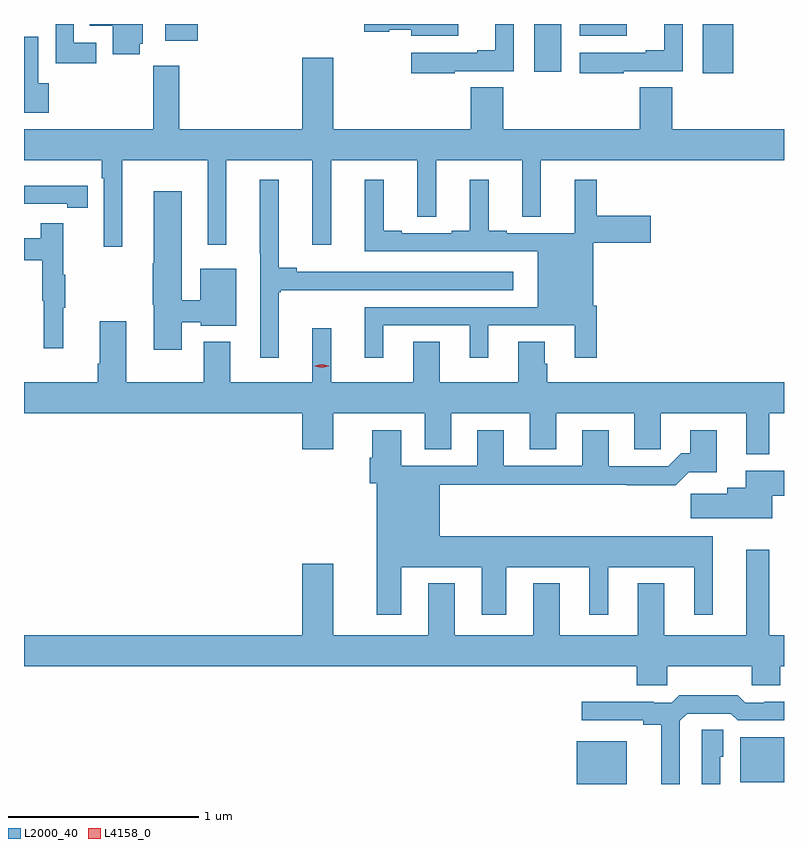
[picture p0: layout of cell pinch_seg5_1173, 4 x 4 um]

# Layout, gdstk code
import gdstk
lib = gdstk.Library(unit=1e-6, precision=1e-09)
def R(c, l, rs):  # rectangles x0, y0, x1, y1
    for r in rs: c.add(gdstk.rectangle(r[:2], r[2:], *l))
def P(c, l, *ps):  # polygons
    for p in ps: c.add(gdstk.Polygon(p, *l))
L2000_40 = (2000, 40)
L4158_0 = (4158, 0)

pinch_seg5_1173 = lib.new_cell('pinch_seg5_1173')
R(pinch_seg5_1173, L2000_40, [(550.07,892.105,550.333,892.33), (550.931,892.115,551.16,892.351), (550.733,895.845,550.894,896.105), (549.845,895.854,549.988,896.105), (547.904,896.016,548.075,896.105), (550.085,896.042,550.333,896.105)])
P(pinch_seg5_1173, L2000_40, [(550.316,895.857),(550.626,895.857),(550.626,896.105),(550.529,896.105),(550.529,895.966),(550.433,895.966),(550.433,895.953),(550.086,895.953),(550.086,895.845),(550.316,895.845)],
  [(547.54,896.007),(547.422,896.007),(547.422,896.105),(547.326,896.105),(547.326,895.899),(547.54,895.899)],
  [(547.768,896.001),(547.786,896.001),(547.786,896.105),(547.507,896.105),(547.507,896.096),(547.628,896.096),(547.628,895.946),(547.768,895.946)],
  [(549.428,895.857),(549.738,895.857),(549.738,896.105),(549.641,896.105),(549.641,895.966),(549.545,895.966),(549.545,895.953),(549.198,895.953),(549.198,895.845),(549.428,895.845)],
  [(549.445,896.105),(548.952,896.105),(548.952,896.063),(549.083,896.063),(549.083,896.075),(549.197,896.075),(549.197,896.042),(549.445,896.042)],
  [(547.289,895.794),(547.236,895.794),(547.236,896.038),(547.16,896.038),(547.16,895.638),(547.289,895.638)],
  [(548.126,894.942),(548.225,894.942),(548.225,895.388),(548.678,895.388),(548.678,894.942),(548.777,894.942),(548.777,895.388),(549.23,895.388),(549.23,895.09),(549.329,895.09),(549.329,895.388),(549.782,895.388),(549.782,895.09),(549.881,895.09),(549.881,895.388),(551.16,895.388),(551.16,895.552),(550.571,895.552),(550.571,895.772),(550.4,895.772),(550.4,895.552),(549.683,895.552),(549.683,895.772),(549.512,895.772),(549.512,895.552),(548.788,895.552),(548.788,895.927),(548.624,895.927),(548.624,895.552),(547.976,895.552),(547.976,895.885),(547.84,895.885),(547.84,895.552),(547.16,895.552),(547.16,895.388),(547.568,895.388),(547.568,895.292),(547.581,895.292),(547.581,894.933),(547.678,894.933),(547.678,895.388),(548.126,895.388)],
  [(549.052,894.519),(549.506,894.519),(549.506,894.348),(549.604,894.348),(549.604,894.519),(550.058,894.519),(550.058,894.348),(550.175,894.348),(550.175,894.622),(550.156,894.622),(550.156,894.953),(550.459,894.953),(550.459,895.095),(550.175,895.095),(550.175,895.285),(550.058,895.285),(550.058,895.005),(549.7,895.005),(549.7,895.018),(549.605,895.018),(549.605,895.285),(549.506,895.285),(549.506,895.018),(549.41,895.018),(549.41,895.005),(549.148,895.005),(549.148,895.018),(549.053,895.018),(549.053,895.285),(548.954,895.285),(548.954,894.909),(549.863,894.909),(549.863,894.615),(548.954,894.615),(548.954,894.348),(549.052,894.348)],
  [(548.501,894.693),(548.512,894.693),(548.512,894.704),(548.858,894.704),(548.858,894.705),(549.736,894.705),(549.736,894.801),(548.596,894.801),(548.596,894.821),(548.501,894.821),(548.501,895.285),(548.402,895.285),(548.402,894.898),(548.403,894.898),(548.403,894.348),(548.501,894.348)],
  [(547.496,895.254),(547.388,895.254),(547.388,895.255),(547.16,895.255),(547.16,895.158),(547.388,895.158),(547.388,895.138),(547.496,895.138)],
  [(547.99,894.534),(548.091,894.534),(548.091,894.518),(548.278,894.518),(548.278,894.817),(548.087,894.817),(548.087,894.65),(547.99,894.65),(547.99,895.225),(547.844,895.225),(547.844,894.845),(547.837,894.845),(547.837,894.627),(547.844,894.627),(547.844,894.39),(547.99,894.39)],
  [(547.367,894.611),(547.378,894.611),(547.378,894.785),(547.367,894.785),(547.367,895.057),(547.249,895.057),(547.249,894.978),(547.16,894.978),(547.16,894.862),(547.257,894.862),(547.257,894.648),(547.264,894.648),(547.264,894.399),(547.367,894.399)],
  [(551.083,894.056),(551.16,894.056),(551.16,894.22),(549.914,894.22),(549.914,894.318),(549.901,894.318),(549.901,894.433),(549.761,894.433),(549.761,894.22),(549.349,894.22),(549.349,894.433),(549.209,894.433),(549.209,894.22),(548.777,894.22),(548.777,894.505),(548.678,894.505),(548.678,894.22),(548.245,894.22),(548.245,894.433),(548.105,894.433),(548.105,894.22),(547.699,894.22),(547.699,894.541),(547.559,894.541),(547.559,894.316),(547.547,894.316),(547.547,894.22),(547.16,894.22),(547.16,894.056),(548.624,894.056),(548.624,893.868),(548.788,893.868),(548.788,894.056),(549.269,894.056),(549.269,893.866),(549.409,893.866),(549.409,894.056),(549.821,894.056),(549.821,893.866),(549.961,893.866),(549.961,894.056),(550.373,894.056),(550.373,893.866),(550.512,893.866),(550.512,894.056),(550.961,894.056),(550.961,893.84),(551.083,893.84)],
  [(549.145,893.246),(549.569,893.246),(549.569,892.995),(549.697,892.995),(549.697,893.246),(550.136,893.246),(550.136,892.995),(550.234,892.995),(550.234,893.246),(550.688,893.246),(550.688,892.995),(550.786,892.995),(550.786,893.41),(549.349,893.41),(549.349,893.68),(550.333,893.68),(550.333,893.678),(550.589,893.678),(550.658,893.747),(550.807,893.747),(550.807,893.968),(550.667,893.968),(550.667,893.845),(550.618,893.845),(550.551,893.778),(550.237,893.778),(550.237,893.968),(550.097,893.968),(550.097,893.781),(549.685,893.781),(549.685,893.968),(549.545,893.968),(549.545,893.781),(549.145,893.781),(549.145,893.968),(548.993,893.968),(548.993,893.822),(548.981,893.822),(548.981,893.688),(549.017,893.688),(549.017,892.995),(549.145,892.995)],
  [(551.098,893.621),(551.16,893.621),(551.16,893.755),(550.958,893.755),(550.958,893.665),(550.862,893.665),(550.862,893.633),(550.668,893.633),(550.668,893.504),(551.098,893.504)],
  [(550.545,892.724),(550.99,892.724),(550.99,892.626),(551.14,892.626),(551.14,892.724),(551.16,892.724),(551.16,892.888),(551.083,892.888),(551.083,893.338),(550.961,893.338),(550.961,892.888),(550.531,892.888),(550.531,893.161),(550.391,893.161),(550.391,892.888),(549.979,892.888),(549.979,893.161),(549.839,893.161),(549.839,892.888),(549.427,892.888),(549.427,893.161),(549.287,893.161),(549.287,892.888),(548.788,892.888),(548.788,893.263),(548.624,893.263),(548.624,892.888),(547.16,892.888),(547.16,892.724),(550.385,892.724),(550.385,892.626),(550.545,892.626)],
  [(550.611,892.437),(550.65,892.476),(550.881,892.476),(550.917,892.44),(551.16,892.44),(551.16,892.538),(551.056,892.538),(551.056,892.533),(550.956,892.533),(550.917,892.573),(550.609,892.573),(550.569,892.533),(550.475,892.533),(550.475,892.538),(550.095,892.538),(550.095,892.44),(550.418,892.44),(550.418,892.418),(550.514,892.418),(550.514,892.105),(550.611,892.105)],
  [(550.824,892.248),(550.84,892.248),(550.84,892.391),(550.728,892.391),(550.728,892.105),(550.824,892.105)])
P(pinch_seg5_1173, L4158_0, [(548.727,894.295),(548.691,894.305),(548.691,894.305),(548.691,894.306),(548.727,894.315),(548.763,894.306),(548.763,894.305),(548.763,894.305)])

lib.write_gds('pinch_seg5_1173.gds')
